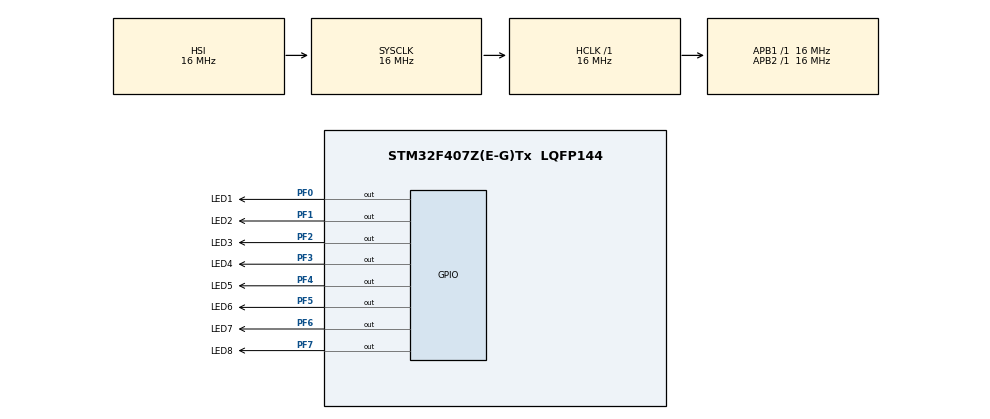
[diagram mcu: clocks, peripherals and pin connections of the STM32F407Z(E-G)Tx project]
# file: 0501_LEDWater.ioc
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Mcu.Family=STM32F4
Mcu.Name=STM32F407Z(E-G)Tx
Mcu.Package=LQFP144
NVIC.PriorityGroup=NVIC_PRIORITYGROUP_4
PA0-WKUP.Mode=SYS_WakeUp0
PA0-WKUP.Signal=SYS_WKUP
PA13.Mode=Serial_Wire
PA13.Signal=SYS_JTMS-SWDIO
PA14.Mode=Serial_Wire
PA14.Signal=SYS_JTCK-SWCLK
PC14-OSC32_IN.Signal=RCC_OSC32_IN
PC15-OSC32_OUT.Signal=RCC_OSC32_OUT
PF0.GPIO_Label=LED1
PF0.GPIO_ModeDefaultOutputPP=GPIO_MODE_OUTPUT_PP
PF0.GPIO_PuPd=GPIO_NOPULL
PF0.GPIO_Speed=GPIO_SPEED_FREQ_LOW
PF0.PinState=GPIO_PIN_SET
PF0.Signal=GPIO_Output
PF1.GPIO_Label=LED2
PF1.GPIO_ModeDefaultOutputPP=GPIO_MODE_OUTPUT_PP
PF1.GPIO_PuPd=GPIO_NOPULL
PF1.GPIO_Speed=GPIO_SPEED_FREQ_LOW
PF1.PinState=GPIO_PIN_SET
PF1.Signal=GPIO_Output
PF2.GPIO_Label=LED3
PF2.GPIO_ModeDefaultOutputPP=GPIO_MODE_OUTPUT_PP
PF2.GPIO_PuPd=GPIO_NOPULL
PF2.GPIO_Speed=GPIO_SPEED_FREQ_LOW
PF2.PinState=GPIO_PIN_SET
PF2.Signal=GPIO_Output
PF3.GPIO_Label=LED4
PF3.GPIO_ModeDefaultOutputPP=GPIO_MODE_OUTPUT_PP
PF3.GPIO_PuPd=GPIO_NOPULL
PF3.GPIO_Speed=GPIO_SPEED_FREQ_LOW
PF3.PinState=GPIO_PIN_SET
PF3.Signal=GPIO_Output
PF4.GPIO_Label=LED5
PF4.GPIO_ModeDefaultOutputPP=GPIO_MODE_OUTPUT_PP
PF4.GPIO_PuPd=GPIO_NOPULL
PF4.GPIO_Speed=GPIO_SPEED_FREQ_LOW
PF4.PinState=GPIO_PIN_SET
PF4.Signal=GPIO_Output
PF5.GPIO_Label=LED6
PF5.GPIO_ModeDefaultOutputPP=GPIO_MODE_OUTPUT_PP
PF5.GPIO_PuPd=GPIO_NOPULL
PF5.GPIO_Speed=GPIO_SPEED_FREQ_LOW
PF5.PinState=GPIO_PIN_SET
PF5.Signal=GPIO_Output
PF6.GPIO_Label=LED7
PF6.GPIO_ModeDefaultOutputPP=GPIO_MODE_OUTPUT_PP
PF6.GPIO_PuPd=GPIO_NOPULL
PF6.GPIO_Speed=GPIO_SPEED_FREQ_LOW
PF6.PinState=GPIO_PIN_SET
PF6.Signal=GPIO_Output
PF7.GPIO_Label=LED8
PF7.GPIO_ModeDefaultOutputPP=GPIO_MODE_OUTPUT_PP
PF7.GPIO_PuPd=GPIO_NOPULL
PF7.GPIO_Speed=GPIO_SPEED_FREQ_LOW
PF7.PinState=GPIO_PIN_SET
PF7.Signal=GPIO_Output
PH0-OSC_IN.Mode=HSE-External-Oscillator
PH0-OSC_IN.Signal=RCC_OSC_IN
PH1-OSC_OUT.Mode=HSE-External-Oscillator
PH1-OSC_OUT.Signal=RCC_OSC_OUT
ProjectManager.HeapSize=0x200
ProjectManager.StackSize=0x400
ProjectManager.TargetToolchain=MDK-ARM V5.32
RCC.AHBFreq_Value=16000000
RCC.APB1Freq_Value=16000000
RCC.APB2Freq_Value=16000000
RCC.CortexFreq_Value=16000000
RCC.HSE_VALUE=25000000
RCC.HSI_VALUE=16000000
RCC.LSE_VALUE=32768
RCC.SYSCLKFreq_VALUE=16000000
RCC.VCOOutputFreq_Value=192000000
board=custom

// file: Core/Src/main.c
/* USER CODE BEGIN Header */
/**
  ******************************************************************************
  * @file           : main.c
  * @brief          : Main program body
  ******************************************************************************
  * @attention
  *
  * Copyright (c) 2026 STMicroelectronics.
  * All rights reserved.
  *
  * This software is licensed under terms that can be found in the LICENSE file
  * in the root directory of this software component.
  * If no LICENSE file comes with this software, it is provided AS-IS.
  *
  ******************************************************************************
  */
/* USER CODE END Header */
#include "main.h"

void SystemClock_Config(void);
static void MX_GPIO_Init(void);

/* USER CODE BEGIN 0 */
void delay(uint32_t i)
{
    while(i--);
}

/* USER CODE END 0 */

int main(void)
{

  /* MCU Configuration--------------------------------------------------------*/

  /* Reset of all peripherals, Initializes the Flash interface and the Systick. */
  HAL_Init();

  /* Configure the system clock */
  SystemClock_Config();

  /* Initialize all configured peripherals */
  MX_GPIO_Init();

  /* Infinite loop */
  while (1)
  {

    /* USER CODE BEGIN 3 */
    GPIOF->ODR = 0xFE;
    delay(1000000);
    GPIOF->ODR = 0xFD;
    delay(1000000);
    GPIOF->ODR = 0xFB;
    delay(1000000);
    GPIOF->ODR = 0xF7;
    delay(1000000);
    GPIOF->ODR = 0xEF;
    delay(1000000);
    GPIOF->ODR = 0xDF;
    delay(000000);
    GPIOF->ODR = 0xBF;
    delay(1000000);
    GPIOF->ODR = 0x7F;
    delay(000000);

}
/* USER CODE END 0 */

/* USER CODE BEGIN WHILE */

  /* USER CODE END 3 */
}

void SystemClock_Config(void)
{
  RCC_OscInitTypeDef RCC_OscInitStruct = {0};
  RCC_ClkInitTypeDef RCC_ClkInitStruct = {0};

  /** Configure the main internal regulator output voltage
  */
  __HAL_RCC_PWR_CLK_ENABLE();
  __HAL_PWR_VOLTAGESCALING_CONFIG(PWR_REGULATOR_VOLTAGE_SCALE1);

  /** Initializes the RCC Oscillators according to the specified parameters
  * in the RCC_OscInitTypeDef structure.
  */
  RCC_OscInitStruct.OscillatorType = RCC_OSCILLATORTYPE_HSI;
  RCC_OscInitStruct.HSIState = RCC_HSI_ON;
  RCC_OscInitStruct.HSICalibrationValue = RCC_HSICALIBRATION_DEFAULT;
  RCC_OscInitStruct.PLL.PLLState = RCC_PLL_NONE;
  if (HAL_RCC_OscConfig(&RCC_OscInitStruct) != HAL_OK)
  {
    Error_Handler();
  }

  /** Initializes the CPU, AHB and APB buses clocks
  */
  RCC_ClkInitStruct.ClockType = RCC_CLOCKTYPE_HCLK|RCC_CLOCKTYPE_SYSCLK
                              |RCC_CLOCKTYPE_PCLK1|RCC_CLOCKTYPE_PCLK2;
  RCC_ClkInitStruct.SYSCLKSource = RCC_SYSCLKSOURCE_HSI;
  RCC_ClkInitStruct.AHBCLKDivider = RCC_SYSCLK_DIV1;
  RCC_ClkInitStruct.APB1CLKDivider = RCC_HCLK_DIV1;
  RCC_ClkInitStruct.APB2CLKDivider = RCC_HCLK_DIV1;

  if (HAL_RCC_ClockConfig(&RCC_ClkInitStruct, FLASH_LATENCY_0) != HAL_OK)
  {
    Error_Handler();
  }
}

static void MX_GPIO_Init(void)
{
  GPIO_InitTypeDef GPIO_InitStruct = {0};

  /* GPIO Ports Clock Enable */
  __HAL_RCC_GPIOC_CLK_ENABLE();
  __HAL_RCC_GPIOF_CLK_ENABLE();
  __HAL_RCC_GPIOH_CLK_ENABLE();
  __HAL_RCC_GPIOA_CLK_ENABLE();

  /*Configure GPIO pin Output Level */
  HAL_GPIO_WritePin(GPIOF, LED1_Pin|LED2_Pin|LED3_Pin|LED4_Pin
                          |LED5_Pin|LED6_Pin|LED7_Pin|LED8_Pin, GPIO_PIN_SET);

  /*Configure GPIO pins : LED1_Pin LED2_Pin LED3_Pin LED4_Pin
                           LED5_Pin LED6_Pin LED7_Pin LED8_Pin */
  GPIO_InitStruct.Pin = LED1_Pin|LED2_Pin|LED3_Pin|LED4_Pin
                          |LED5_Pin|LED6_Pin|LED7_Pin|LED8_Pin;
  GPIO_InitStruct.Mode = GPIO_MODE_OUTPUT_PP;
  GPIO_InitStruct.Pull = GPIO_NOPULL;
  GPIO_InitStruct.Speed = GPIO_SPEED_FREQ_LOW;
  HAL_GPIO_Init(GPIOF, &GPIO_InitStruct);

}

void Error_Handler(void)
{
  __disable_irq();
  while (1)
  {
  }
}
